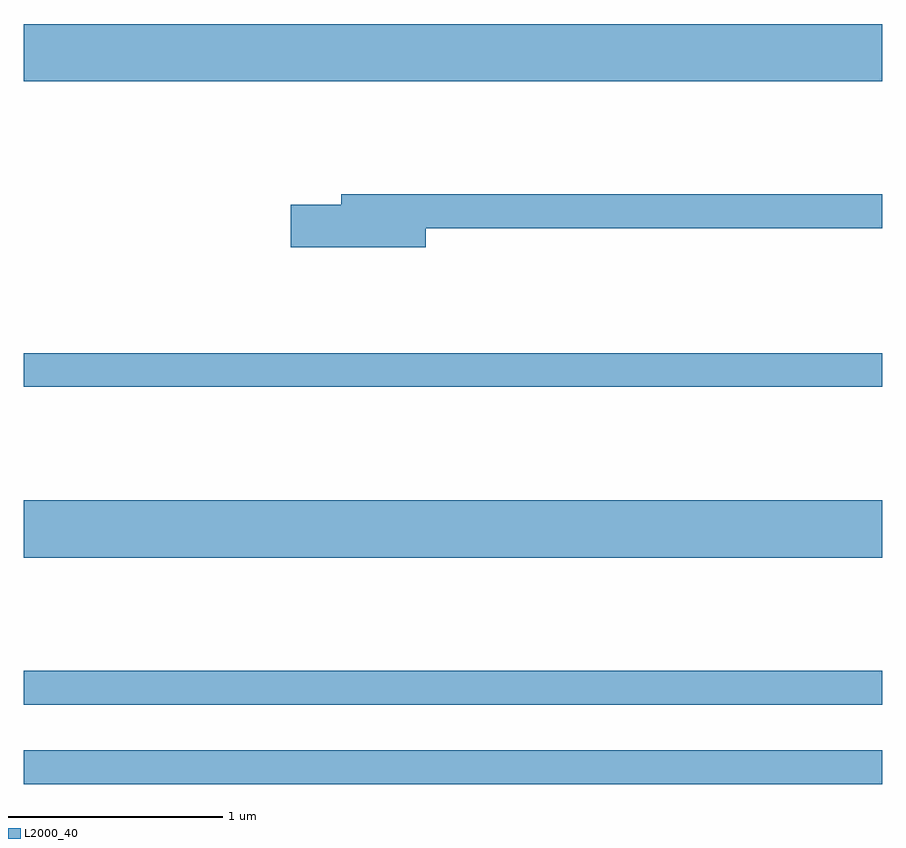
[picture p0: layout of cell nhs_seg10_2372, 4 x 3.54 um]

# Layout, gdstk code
import gdstk
lib = gdstk.Library(unit=1e-6, precision=1e-09)
def R(c, l, rs):  # rectangles x0, y0, x1, y1
    for r in rs: c.add(gdstk.rectangle(r[:2], r[2:], *l))
def P(c, l, *ps):  # polygons
    for p in ps: c.add(gdstk.Polygon(p, *l))
L2000_40 = (2000, 40)

nhs_seg10_2372 = lib.new_cell('nhs_seg10_2372')
R(nhs_seg10_2372, L2000_40, [(253.611,2214.981,257.611,2215.139), (253.611,2215.351,257.611,2215.509), (253.611,2216.036,257.611,2216.304), (253.611,2216.831,257.611,2216.989), (253.611,2218.256,257.611,2218.522)])
P(nhs_seg10_2372, L2000_40, [(255.484,2217.571),(257.611,2217.571),(257.611,2217.729),(255.091,2217.729),(255.091,2217.679),(254.856,2217.679),(254.856,2217.481),(255.484,2217.481)])

lib.write_gds('nhs_seg10_2372.gds')
